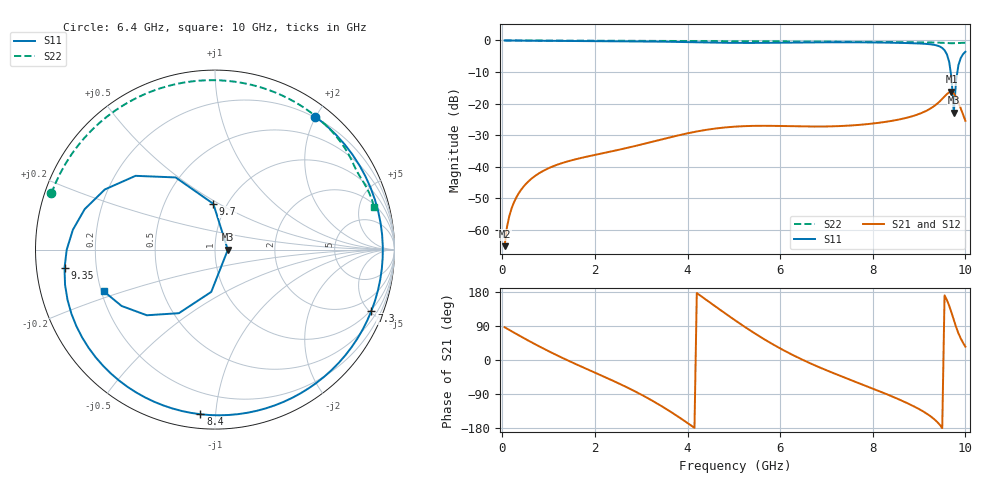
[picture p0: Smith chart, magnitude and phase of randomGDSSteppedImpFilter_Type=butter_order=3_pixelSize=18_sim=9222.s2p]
! freq	dB(S11)	phase(S11)	dB(S12)	phase(S12)
!  dB(S21)	phase(S21)	dB(S22)	phase(S22)
!S-par simulation data
#  GHz  S  DB  R 50
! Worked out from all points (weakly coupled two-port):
!   200 points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, 50 MHz to 10 GHz, reference 50 ohm
!   highest |S21| = -16.26 dB at 9.7 GHz (marker M1); lowest = -65.2 dB at 50 MHz (marker M2)
!   lowest |S11| = -22.9 dB at 9.75 GHz (marker M3), VSWR 1.15, Z = 57.7 - j0.14 ohm
!   |S11| at or under -10 dB: 9.682 GHz to 9.827 GHz (145 MHz wide, 1.49 % of centre)
!   |S22| runs from -0.9 to 0.0 dB; largest |S21 - S12| = 0
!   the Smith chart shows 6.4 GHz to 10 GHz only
!   S11 on the Smith chart (normalised r, x): 6.4 GHz: 0.19, +1.99; 7.3 GHz: 0.93, -5.13; 8.4 GHz: 0.08, -0.91; 9.35 GHz: 0.08, -0.06; 9.7 GHz: 0.86, +0.47; 10 GHz: 0.21, -0.17
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0.05  -0.00 -5.3  -65.23 86.5  -65.23 86.5  -0.00 -1.8
0.3  -0.05 -31.4  -49.86 69.0  -49.86 69.0  -0.02 -10.6
0.85  -0.11 -85.8  -41.62 32.6  -41.62 32.6  -0.04 -29.7
1.75  -0.17 -164.4  -37.09 -19.8  -37.09 -19.8  -0.08 -60.0
2.75  -0.25 111.4  -33.88 -75.6  -33.88 -75.6  -0.11 -91.7
3.4  -0.36 48.1  -31.53 -118.8  -31.53 -118.8  -0.14 -111.2
3.9  -0.49 -8.5  -29.76 -157.9  -29.76 -157.9  -0.17 -125.7
4.4  -0.64 -71.0  -28.35 159.1  -28.35 159.1  -0.19 -140.1
5.05  -0.77 -155.0  -27.30 102.8  -27.30 102.8  -0.23 -158.7
5.4  -0.78 161.4  -27.09 74.3  -27.09 74.3  -0.25 -168.8
5.8  -0.75 114.8  -27.07 44.4  -27.07 44.4  -0.28 179.4
6.4  -0.65 53.0  -27.24 5.5  -27.24 5.5  -0.33 161.0
6.7  -0.61 26.0  -27.29 -11.5  -27.29 -11.5  -0.35 151.4
7.3  -0.58 -21.4  -27.14 -42.0  -27.14 -42.0  -0.40 131.0
8.35  -0.70 -91.8  -25.65 -92.7  -25.65 -92.7  -0.50 90.6
8.4  -0.72 -95.0  -25.52 -95.2  -25.52 -95.2  -0.51 88.5
9.35  -1.47 -173.0  -20.53 -158.7  -20.53 -158.7  -0.66 45.5
9.6  -4.38 137.1  -17.01 158.4  -17.01 158.4  -0.82 33.5
9.7  -11.86 92.1  -16.26 125.1  -16.26 125.1  -0.89 29.2
9.75  -22.92 -1.0  -16.76 105.5  -16.76 105.5  -0.88 27.2
9.85  -7.80 -119.6  -19.63 70.4  -19.63 70.4  -0.80 22.7
10  -3.58 -159.5  -25.49 35.2  -25.49 35.2  -0.74 15.0
